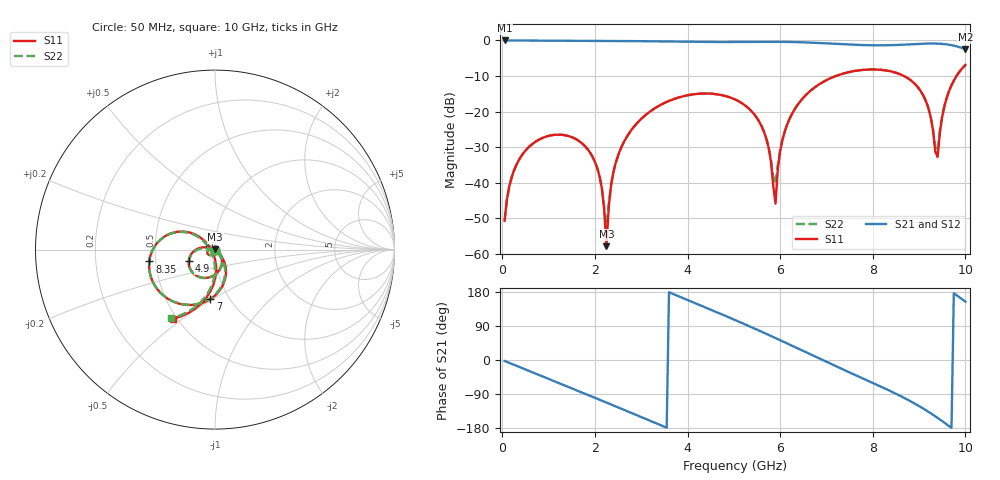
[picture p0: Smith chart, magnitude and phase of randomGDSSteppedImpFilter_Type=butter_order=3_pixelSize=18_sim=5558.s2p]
! freq	dB(S11)	phase(S11)	dB(S12)	phase(S12)
!  dB(S21)	phase(S21)	dB(S22)	phase(S22)
!S-par simulation data
#  GHz  S  DB  R 50
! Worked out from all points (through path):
!   200 points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, 50 MHz to 10 GHz, reference 50 ohm
!   highest |S21| = 0.00 dB at 50 MHz (marker M1); lowest = -2.4 dB at 10 GHz (marker M2)
!   group delay of S21, straight-line fit = 151 ps
!   lowest |S11| = -57.9 dB at 2.25 GHz (marker M3), VSWR 1.00, Z = 50 + j0.119 ohm
!   |S11| at or under -10 dB: start of sweep to 7.205 GHz; 8.671 GHz to 9.809 GHz (1.139 GHz wide, 12.3 % of centre)
!   |S22| runs from -53.5 to -6.9 dB; largest |S21 - S12| = 0
!   S11 on the Smith chart (normalised r, x): 50 MHz: 1.00, -0.01; 4.9 GHz: 0.74, -0.09; 7 GHz: 0.82, -0.49; 8.35 GHz: 0.46, -0.07; 10 GHz: 0.48, -0.46
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0.05  -50.73 -90.5  -0.00 -2.5  -0.00 -2.5  -50.73 -90.5
0.2  -38.62 -98.6  -0.02 -10.0  -0.02 -10.0  -38.62 -98.7
0.55  -30.31 -117.1  -0.04 -27.5  -0.04 -27.5  -30.31 -117.3
1.75  -29.30 -178.8  -0.11 -87.2  -0.11 -87.2  -29.29 -180.0
2.1  -38.25 161.5  -0.12 -104.8  -0.12 -104.8  -38.17 156.9
2.25  -57.90 69.4  -0.13 -112.3  -0.13 -112.3  -53.52 64.9
2.35  -40.65 -23.9  -0.14 -117.4  -0.14 -117.4  -40.50 -16.3
2.5  -32.40 -34.0  -0.15 -125.0  -0.15 -125.0  -32.38 -30.7
3.4  -18.27 -81.0  -0.28 -170.9  -0.28 -170.9  -18.27 -79.9
4.9  -15.96 -156.9  -0.44 112.2  -0.44 112.2  -15.96 -155.4
5.05  -16.76 -164.6  -0.43 104.3  -0.43 104.3  -16.75 -162.8
5.65  -25.70 166.0  -0.38 71.9  -0.38 71.9  -25.61 171.6
5.9  -45.90 -81.6  -0.38 57.9  -0.38 57.9  -40.33 -101.7
5.95  -36.09 -48.8  -0.39 55.1  -0.39 55.1  -35.03 -65.3
6.1  -25.61 -47.4  -0.41 46.6  -0.41 46.6  -25.50 -53.1
6.7  -13.68 -78.6  -0.63 12.1  -0.63 12.1  -13.67 -79.9
7  -11.17 -95.3  -0.83 -4.9  -0.83 -4.9  -11.17 -96.3
8.35  -8.60 -169.8  -1.34 -80.2  -1.34 -80.2  -8.59 -169.9
9.05  -14.58 148.1  -0.94 -125.2  -0.94 -125.2  -14.55 149.0
9.4  -32.81 -120.1  -0.89 -152.7  -0.89 -152.7  -31.17 -127.1
9.6  -16.01 -89.4  -1.12 -170.1  -1.12 -170.1  -15.96 -92.0
10  -6.91 -121.3  -2.45 153.9  -2.45 153.9  -6.90 -122.5
